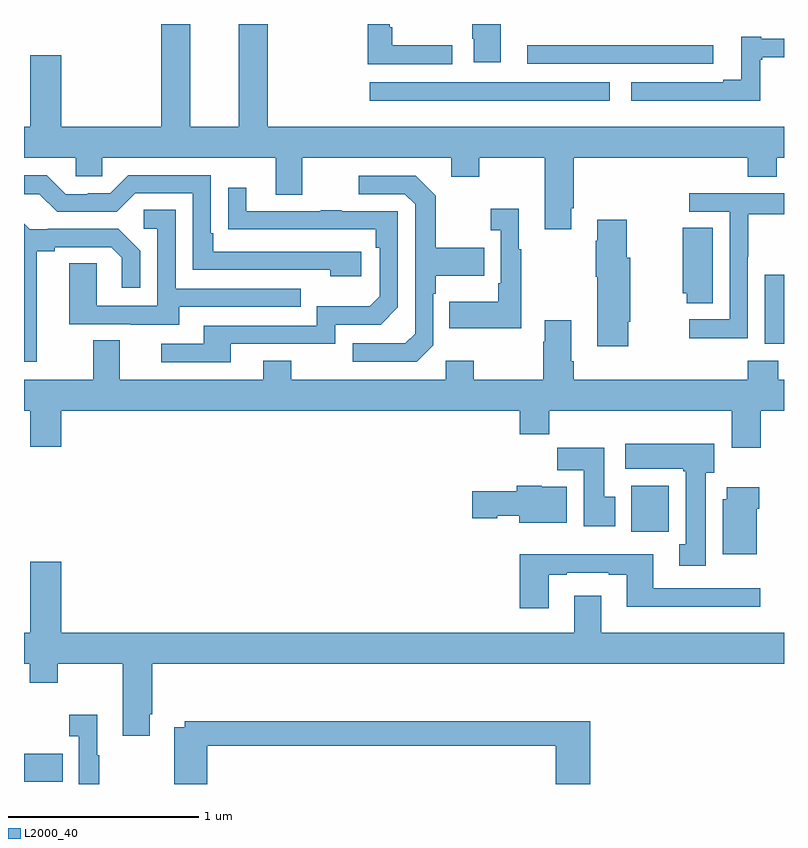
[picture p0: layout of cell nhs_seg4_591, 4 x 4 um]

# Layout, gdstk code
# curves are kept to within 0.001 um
import gdstk
lib = gdstk.Library(unit=1e-6, precision=1e-09)
def R(c, l, rs):  # rectangles x0, y0, x1, y1
    for r in rs: c.add(gdstk.rectangle(r[:2], r[2:], *l))
def P(c, l, *ps):  # polygons
    for p in ps: c.add(gdstk.Polygon(p, *l))
L2000_40 = (2000, 40)

nhs_seg4_591 = lib.new_cell('nhs_seg4_591')
R(nhs_seg4_591, L2000_40, [(141,750.911,141.203,751.059), (144.197,752.228,144.394,752.47), (144.899,753.218,145,753.579), (142.821,754.496,144.082,754.593), (143.649,754.692,144.628,754.789)])
P(nhs_seg4_591, L2000_40, [(143.254,754.787),(142.939,754.787),(142.939,754.882),(142.926,754.882),(142.926,754.9),(142.81,754.9),(142.81,754.689),(143.254,754.689)],
  [(143.509,754.9),(143.359,754.9),(143.359,754.822),(143.366,754.822),(143.366,754.7),(143.509,754.7)],
  [(144.874,754.713),(144.886,754.713),(144.886,754.724),(145,754.724),(145,754.822),(144.88,754.822),(144.88,754.834),(144.776,754.834),(144.776,754.606),(144.68,754.606),(144.68,754.593),(144.195,754.593),(144.195,754.496),(144.874,754.496)],
  [(142.283,754.9),(142.13,754.9),(142.13,754.36),(141.874,754.36),(141.874,754.9),(141.722,754.9),(141.722,754.36),(141.196,754.36),(141.196,754.735),(141.032,754.735),(141.032,754.36),(141,754.36),(141,754.196),(141.273,754.196),(141.273,754.098),(141.411,754.098),(141.411,754.196),(142.325,754.196),(142.325,754.002),(142.465,754.002),(142.465,754.196),(143.249,754.196),(143.249,754.097),(143.397,754.097),(143.397,754.196),(143.741,754.196),(143.741,753.819),(143.881,753.819),(143.881,753.931),(143.894,753.931),(143.894,754.196),(144.809,754.196),(144.809,754.097),(144.961,754.097),(144.961,754.196),(145,754.196),(145,754.36),(142.283,754.36)],
  [(142.774,753.702),(141.997,753.702),(141.997,753.799),(141.984,753.799),(141.984,754.104),(141.549,754.104),(141.453,754.008),(141.335,754.008),(141.335,754.005),(141.219,754.005),(141.119,754.105),(141,754.105),(141,754.005),(141.081,754.005),(141.174,753.912),(141.489,753.912),(141.585,754.008),(141.888,754.008),(141.888,753.606),(142.613,753.606),(142.613,753.572),(142.774,753.572)],
  [(143.154,753.21),(143.154,753.479),(143.167,753.479),(143.167,753.575),(143.423,753.575),(143.423,753.723),(143.167,753.723),(143.167,753.995),(143.061,754.101),(142.761,754.101),(142.761,754.005),(143.004,754.005),(143.058,753.951),(143.058,753.27),(143.007,753.219),(142.731,753.219),(142.731,753.123),(143.067,753.123)],
  [(142.087,753.216),(142.638,753.216),(142.638,753.318),(142.878,753.318),(142.968,753.408),(142.968,753.915),(142.673,753.915),(142.673,753.92),(142.561,753.92),(142.561,753.915),(142.171,753.915),(142.171,754.039),(142.075,754.039),(142.075,753.82),(142.852,753.819),(142.852,753.722),(142.872,753.722),(142.872,753.468),(142.819,753.415),(142.542,753.415),(142.542,753.312),(141.947,753.312),(141.947,753.216),(141.723,753.216),(141.723,753.12),(142.087,753.12)],
  [(144.714,753.912),(144.714,753.345),(144.501,753.345),(144.501,753.247),(144.81,753.247),(144.81,753.676),(144.813,753.676),(144.813,753.9),(145,753.9),(145,754.008),(144.501,754.008),(144.501,753.912)],
  [(143.617,753.715),(143.605,753.715),(143.605,753.928),(143.457,753.928),(143.457,753.815),(143.508,753.815),(143.508,753.535),(143.496,753.535),(143.496,753.439),(143.239,753.439),(143.239,753.299),(143.617,753.299)],
  [(141.817,753.411),(142.457,753.411),(142.457,753.507),(141.798,753.507),(141.798,753.923),(141.63,753.923),(141.63,753.822),(141.702,753.822),(141.702,753.417),(141.384,753.417),(141.384,753.641),(141.239,753.641),(141.239,753.321),(141.563,753.321),(141.563,753.317),(141.817,753.317)],
  [(144.18,753.333),(144.19,753.333),(144.19,753.669),(144.172,753.669),(144.172,753.871),(144.017,753.871),(144.017,753.758),(144.01,753.758),(144.01,753.569),(144.017,753.569),(144.017,753.204),(144.18,753.204)],
  [(141.067,753.704),(141.163,753.704),(141.163,753.726),(141.458,753.726),(141.515,753.669),(141.515,753.513),(141.612,753.513),(141.612,753.706),(141.496,753.822),(141.124,753.822),(141.124,753.819),(141.03,753.819),(141,753.849),(141,753.123),(141.067,753.123)],
  [(144.625,753.827),(144.467,753.827),(144.467,753.483),(144.487,753.483),(144.487,753.43),(144.625,753.43)],
  [(144.878,752.864),(145,752.864),(145,753.028),(144.969,753.028),(144.969,753.127),(144.809,753.127),(144.809,753.028),(143.894,753.028),(143.894,753.124),(143.881,753.124),(143.881,753.34),(143.741,753.34),(143.741,753.227),(143.734,753.227),(143.734,753.028),(143.367,753.028),(143.367,753.127),(143.22,753.127),(143.22,753.028),(142.407,753.028),(142.407,753.127),(142.259,753.127),(142.259,753.028),(141.505,753.028),(141.505,753.236),(141.365,753.236),(141.365,753.028),(141,753.028),(141,752.864),(141.032,752.864),(141.032,752.676),(141.196,752.676),(141.196,752.864),(143.609,752.864),(143.609,752.74),(143.765,752.74),(143.765,752.864),(144.725,752.864),(144.725,752.67),(144.878,752.67)],
  [(144.589,752.538),(144.634,752.538),(144.634,752.692),(144.165,752.692),(144.165,752.558),(144.469,752.558),(144.469,752.545),(144.482,752.545),(144.482,752.162),(144.449,752.162),(144.449,752.049),(144.589,752.049)],
  [(144.112,752.412),(144.055,752.412),(144.055,752.671),(143.806,752.671),(143.806,752.552),(143.945,752.552),(143.945,752.256),(144.112,752.256)],
  [(143.857,752.464),(143.724,752.464),(143.724,752.47),(143.594,752.47),(143.594,752.442),(143.358,752.442),(143.358,752.3),(143.49,752.3),(143.49,752.312),(143.606,752.312),(143.606,752.276),(143.857,752.276)],
  [(144.856,752.348),(144.869,752.348),(144.869,752.461),(144.698,752.461),(144.698,752.4),(144.677,752.4),(144.677,752.108),(144.856,752.108)],
  [(143.761,752.001),(143.857,752.001),(143.857,752.013),(144.077,752.013),(144.077,752.001),(144.173,752.001),(144.173,751.832),(144.874,751.832),(144.874,751.929),(144.313,751.929),(144.313,752.11),(143.609,752.11),(143.609,751.824),(143.761,751.824)],
  [(141.661,751.267),(141.674,751.267),(141.674,751.532),(145,751.532),(145,751.696),(144.037,751.696),(144.037,751.891),(143.897,751.891),(143.897,751.696),(141.196,751.696),(141.196,752.071),(141.032,752.071),(141.032,751.696),(141,751.696),(141,751.532),(141.029,751.532),(141.029,751.433),(141.177,751.433),(141.177,751.532),(141.521,751.532),(141.521,751.155),(141.661,751.155)],
  [(141.397,751.051),(141.385,751.051),(141.385,751.264),(141.237,751.264),(141.237,751.151),(141.288,751.151),(141.288,750.9),(141.397,750.9)],
  [(141.965,751.102),(143.798,751.102),(143.798,750.9),(143.981,750.9),(143.981,751.231),(141.846,751.231),(141.846,751.198),(141.79,751.198),(141.79,750.9),(141.965,750.9)])

lib.write_gds('nhs_seg4_591.gds')
